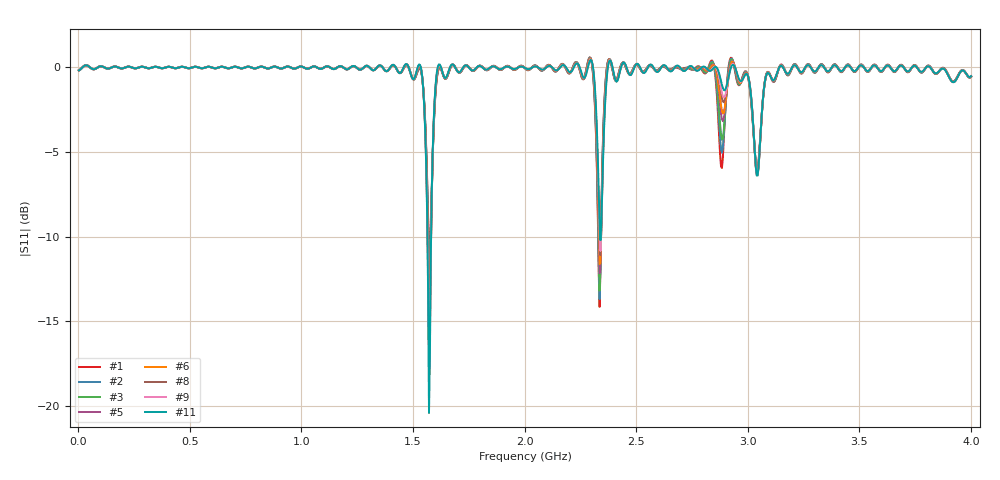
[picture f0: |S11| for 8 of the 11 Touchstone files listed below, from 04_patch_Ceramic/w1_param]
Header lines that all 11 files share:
! TOUCHSTONE file generated by CST MICROWAVE STUDIO
! Project name: AppElm_antenne_patch_Alumina.cst
! Header version: 2018
! Port assignment regex: !\s*Touchstone port\s*([0-9]+)\s*=\s*(CST MWS port|CST DS port)\s*([0-9]+|Zmin|Zmax)\s*\(\"(.*)\"\)(\s*mode\s*([0-9]+))?.*
! Touchstone port assignment:
! Touchstone port 1 = CST MWS port 1 ("")
# GHz S MA R 50
Fixed: L = 30.5, W = 41.8, e = 0.035, h = 1.6, lambda = 0.190476, ls = 90, w0 = 1.12, ws = 90, y0 = 14, y1 = 10
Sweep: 4 MHz to 4 GHz
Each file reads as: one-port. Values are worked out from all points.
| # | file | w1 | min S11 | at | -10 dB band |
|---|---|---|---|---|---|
| 1 | AppElm_antenne_patch_Alumina_1.s1p | 0.2797 | -14.1 dB | 2.336 GHz | 12.57 MHz wide |
| 2 | AppElm_antenne_patch_Alumina_2.s1p | 0.29835 | -13.7 dB | 2.336 GHz | 12.13 MHz wide |
| 3 | AppElm_antenne_patch_Alumina_3.s1p | 0.317 | -13.2 dB | 2.336 GHz | 11.95 MHz wide |
| 4 | AppElm_antenne_patch_Alumina_4.s1p | 0.33565 | -13.2 dB | 1.576 GHz | 13.08 MHz wide |
| 5 | AppElm_antenne_patch_Alumina_5.s1p | 0.3543 | -14.0 dB | 1.572 GHz | 14 MHz wide |
| 6 | AppElm_antenne_patch_Alumina_6.s1p | 0.37295 | -15.0 dB | 1.572 GHz | 14.73 MHz wide |
| 7 | AppElm_antenne_patch_Alumina_7.s1p | 0.3916 | -15.8 dB | 1.572 GHz | 15.19 MHz wide |
| 8 | AppElm_antenne_patch_Alumina_8.s1p | 0.41025 | -16.9 dB | 1.572 GHz | 15.62 MHz wide |
| 9 | AppElm_antenne_patch_Alumina_9.s1p | 0.4289 | -18.0 dB | 1.572 GHz | 15.98 MHz wide |
| 10 | AppElm_antenne_patch_Alumina_10.s1p | 0.44755 | -19.1 dB | 1.572 GHz | 16.2 MHz wide |
| 11 | AppElm_antenne_patch_Alumina_11.s1p | 0.4662 | -20.4 dB | 1.572 GHz | 16.39 MHz wide |
